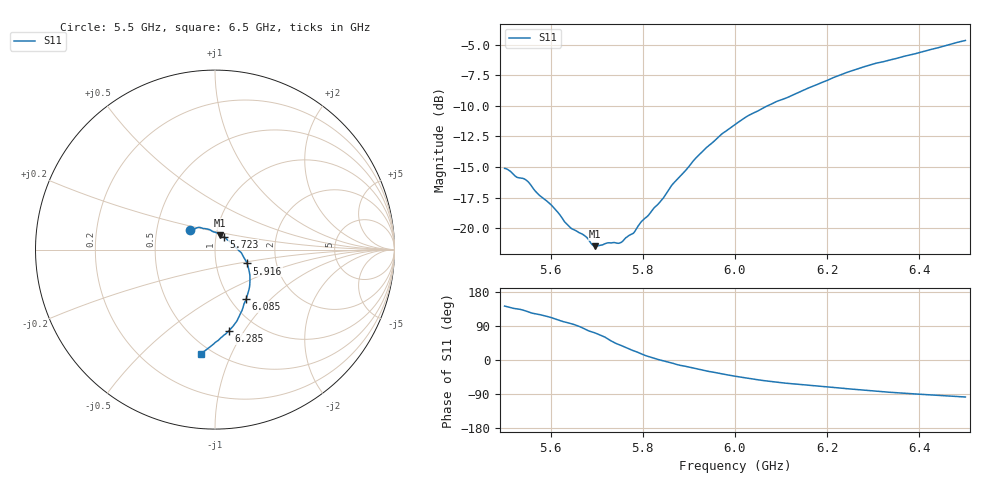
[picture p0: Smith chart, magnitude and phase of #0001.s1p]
#  HZ  S  DB  R  50.00
! Rohde & Schwarz ZVA24 4Ports - Version 3.60 - 1145.1110k28 SN: 101513
! Date: 2019-08-26 13:05:17
! Measurement: S33
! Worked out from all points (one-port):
!   801 points, 5.5 GHz to 6.5 GHz, reference 50 ohm
!   lowest |S11| = -21.5 dB at 5.696 GHz (marker M1), VSWR 1.18, Z = 52.1 + j8.39 ohm
!   |S11| at or under -10 dB: start of sweep to 6.071 GHz
!   S11 on the Smith chart (normalised r, x): 5.5 GHz: 0.74, +0.16; 5.723 GHz: 1.09, +0.16; 5.916 GHz: 1.41, -0.23; 6.085 GHz: 1.18, -0.73; 6.285 GHz: 0.75, -0.86; 6.5 GHz: 0.44, -0.77
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5.5e9  -15.12 142.3
5.51e9  -15.28 139.1
5.52625e9  -15.83 135.0
5.54875e9  -16.13 128.1
5.57125e9  -17.16 121.0
5.60375e9  -18.20 110.8
5.625e9  -19.19 102.0
5.6425e9  -19.95 96.4
5.67375e9  -20.61 81.8
5.69e9  -21.35 73.9
5.69625e9  -21.47 71.4
5.7225e9  -21.21 56.9
5.75e9  -21.21 39.7
5.78125e9  -20.34 24.1
5.7975e9  -19.44 15.8
5.84e9  -17.74 -1.0
5.875e9  -16.00 -12.3
5.91625e9  -14.23 -23.3
5.96875e9  -12.39 -36.0
6e9  -11.52 -42.8
6.03e9  -10.78 -48.8
6.085e9  -9.75 -57.8
6.125e9  -9.13 -62.7
6.18875e9  -8.10 -69.7
6.25e9  -7.19 -76.5
6.285e9  -6.76 -80.2
6.375e9  -5.89 -88.2
6.5e9  -4.67 -97.7
